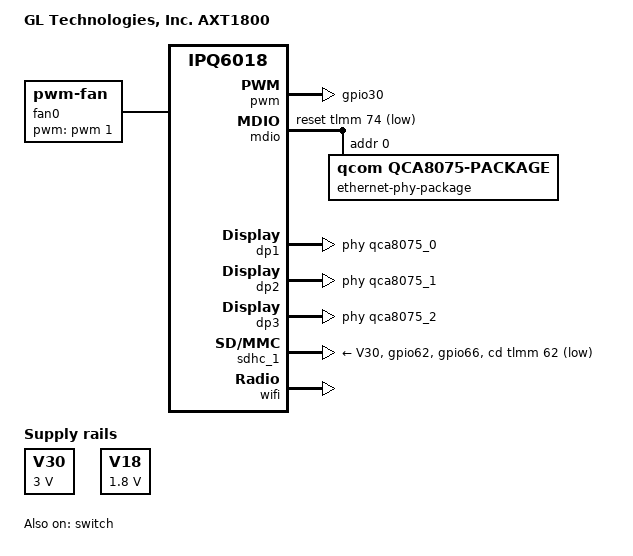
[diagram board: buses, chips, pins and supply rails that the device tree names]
// SPDX-License-Identifier: GPL-2.0-or-later OR MIT

/dts-v1/;

#include "ipq6000-glinet.dtsi"

/ {
	model = "GL Technologies, Inc. AXT1800";
	compatible = "glinet,gl-axt1800", "qcom,ipq6018";

	aliases {
		sdhc0 = &sdhc_1;

		ethernet0 = &dp1;
		ethernet1 = &dp2;
		ethernet2 = &dp3;
	};

	V30: V30 {
		compatible = "regulator-fixed";
		regulator-name = "vmmc-supply";
		regulator-min-microvolt = <3000000>;
		regulator-max-microvolt = <3000000>;
		regulator-always-on;
	};

	V18: V18 {
		compatible = "regulator-fixed";
		regulator-name = "vqmmc-supply";
		regulator-min-microvolt = <1800000>;
		regulator-max-microvolt = <1800000>;
		regulator-always-on;
	};
};

&soc {
	fan0: pwm-fan {
		compatible = "pwm-fan";
		pinctrl-0 = <&fan_pins>;
		pinctrl-names = "default";
		cooling-min-state = <0>;
		cooling-max-state = <255>;
		#cooling-cells = <2>;
		pwms = <&pwm 1 40000 0>;
		cooling-levels = <0 36 36 36 36 36 36 36 36 36 36 36 36 36 36 36 36 36 36 36
						36 36 36 36 36 36 36 36 36 36 36 36 36 36 36 36 36 37 38 39
						40 41 42 43 44 45 46 47 48 49 50 51 52 53 54 55 56 57 58 59
						60 61 62 63 64 65 66 67 68 69 70 71 72 73 74 75 76 77 78 79
						80 81 82 83 84 85 86 87 88 89 90 91 92 93 94 95 96 97 98 99
						100 101 102 103 104 105 106 107 108 109 110 111 112 113 114 115 116 117 118 119
						120 121 122 123 124 125 126 127 128 129 130 131 132 133 134 135 136 137 138 139
						140 141 142 143 144 145 146 147 148 149 150 151 152 153 154 155 156 157 158 159
						160 161 162 163 164 165 166 167 168 169 170 171 172 173 174 175 176 177 178 179
						180 181 182 183 184 185 186 187 188 189 190 191 192 193 194 195 196 197 198 199
						200 201 202 203 204 205 206 207 208 209 210 211 212 213 214 215 216 217 218 219
						220 221 222 223 224 225 226 227 228 229 230 231 232 233 234 235 236 237 238 239
						240 241 242 243 244 245 246 247 248 249 250 251 252 253 254 255>;
	};
};

&pwm {
	pinctrl-0 = <&pwm_pins>;
	pinctrl-names = "default";
	status = "okay";
};

&tlmm {
	sd_pins: sd-pins {
		sd {
			pins = "gpio62";
			function = "sd_card";
			bias-pull-up;
		};
		ldo {
			pins = "gpio66";
			function = "gpio";
			bias-pull-up;
		};
	};

	pwm_pins: pwm-pins {
		pwm {
			pins = "gpio30";
			function = "pwm13";
			drive-strength = <8>;
		};
	};

	fan_pins: fan-pins {
		pwr {
			pins = "gpio29";
			function = "gpio";
			bias-pull-up;
			output-high;
		};
		speed {
			pins = "gpio31";
			function = "gpio";
			drive-strength = <8>;
			bias-pull-down;
		};
	};
};

&mdio {
	status = "okay";

	pinctrl-0 = <&mdio_pins>;
	pinctrl-names = "default";
	reset-gpios = <&tlmm 74 GPIO_ACTIVE_LOW>;

	ethernet-phy-package@0 {
		compatible = "qcom,qca8075-package";
		#address-cells = <1>;
		#size-cells = <0>;
		reg = <0>;

		qca8075_0: ethernet-phy@0 {
			compatible = "ethernet-phy-ieee802.3-c22";
			reg = <0>;
		};

		qca8075_1: ethernet-phy@1 {
			compatible = "ethernet-phy-ieee802.3-c22";
			reg = <1>;
		};

		qca8075_2: ethernet-phy@2 {
			compatible = "ethernet-phy-ieee802.3-c22";
			reg = <2>;
		};
	};
};

&switch {
	status = "okay";

	switch_lan_bmp = <(ESS_PORT2 | ESS_PORT3)>;
	switch_wan_bmp = <ESS_PORT1>;
	switch_mac_mode = <MAC_MODE_PSGMII>;

	qcom,port_phyinfo {
		port@1 {
			port_id = <1>;
			phy_address = <0>;
		};

		port@2 {
			port_id = <2>;
			phy_address = <1>;
		};

		port@3 {
			port_id = <3>;
			phy_address = <2>;
		};
	};
};

&dp1{
	status = "okay";
	phy-handle = <&qca8075_0>;
	label = "wan";
};

&dp2{
	status = "okay";
	phy-handle = <&qca8075_1>;
	label = "lan1";
};

&dp3{
	status = "okay";
	phy-handle = <&qca8075_2>;
	label = "lan2";
};

&sdhc_1 {
	status = "okay";

	pinctrl-0 = <&sd_pins>;
	pinctrl-names = "default";
	cd-gpios = <&tlmm 62 1>;
	sd-ldo-gpios = <&tlmm 66 1>;
	vqmmc-supply = <&V18>;
	vmmc-supply = <&V30>;
};

&wifi {
	status = "okay";
	qcom,ath11k-fw-memory-mode = <1>;
	qcom,ath11k-calibration-variant = "GL-iNet-GL-AXT1800";
};
